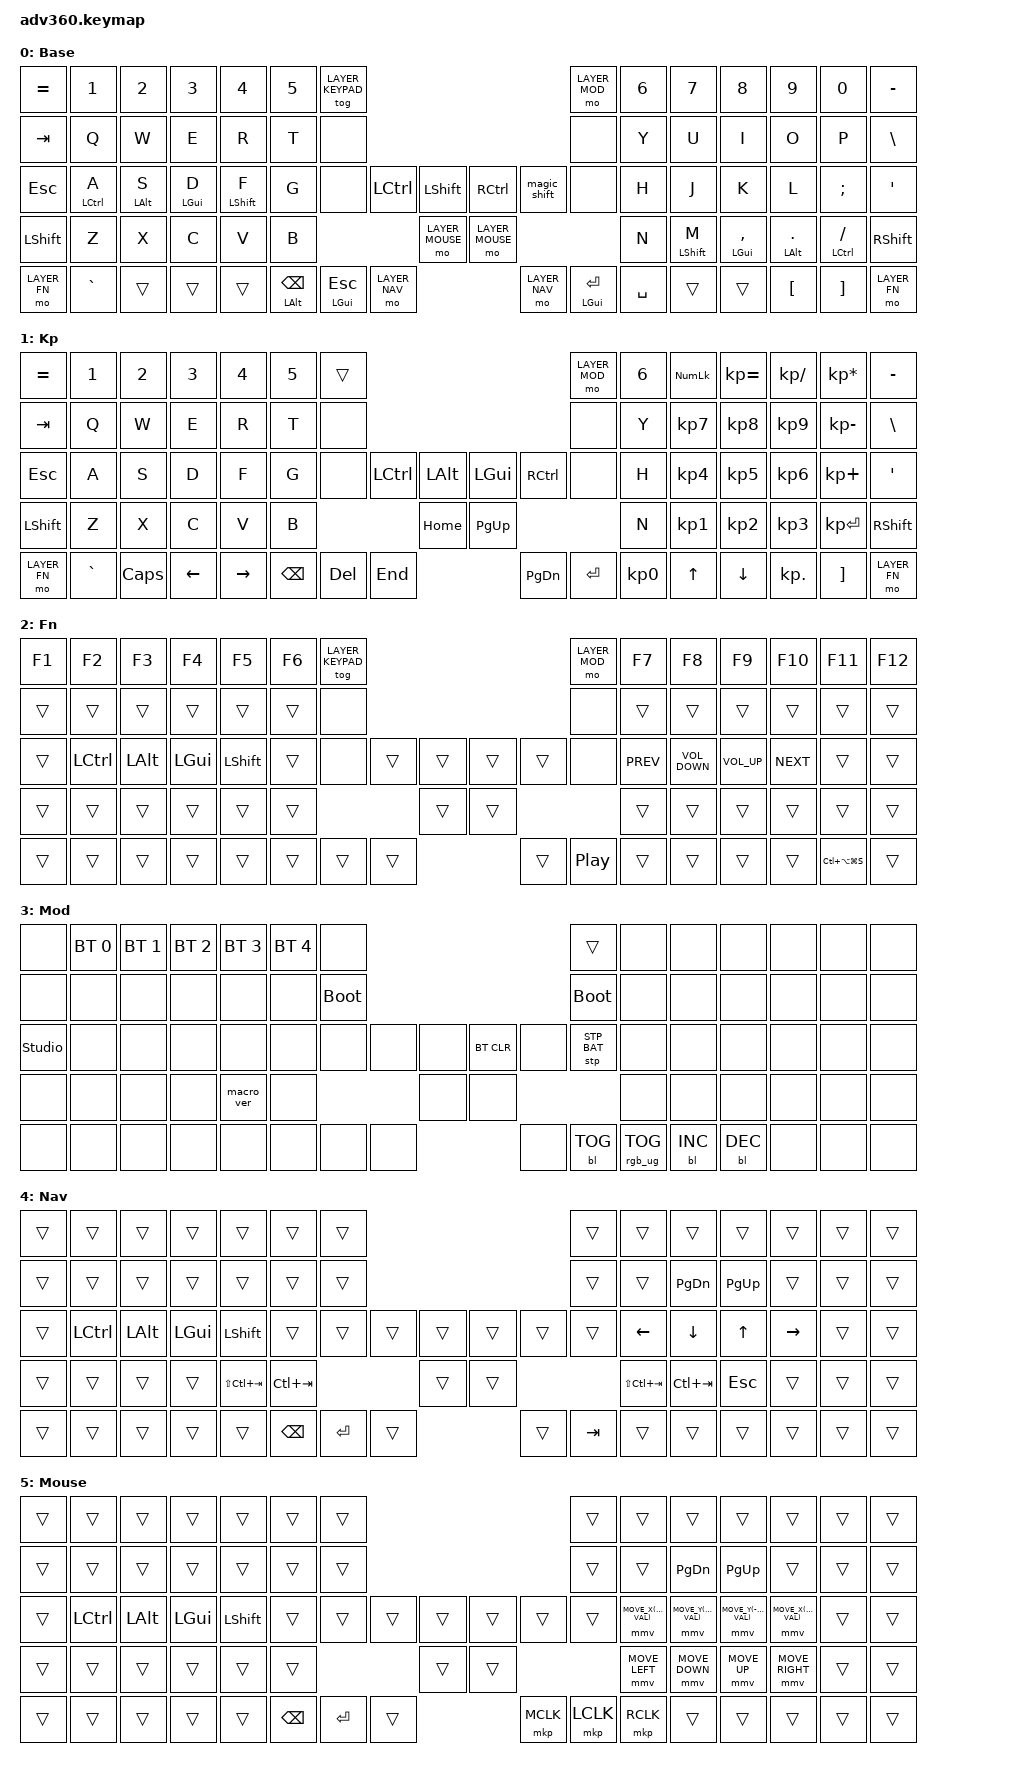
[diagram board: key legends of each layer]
#include <dt-bindings/zmk/stp.h>
#include <behaviors.dtsi>
#include <dt-bindings/zmk/backlight.h>
#include <dt-bindings/zmk/bt.h>
#include <dt-bindings/zmk/keys.h>
#include <dt-bindings/zmk/rgb.h>

// Layers
#define LAYER_DEFAULT 0
#define LAYER_KEYPAD 1
#define LAYER_FN 2
#define LAYER_MOD 3
#define LAYER_NAV 4
#define LAYER_MOUSE 5

// See assets/key-positions.md for a visual representation of the key positions
// 
// ..................ADVANTAGE 360 KEY MATRIX
// ╭────────────────────────────┬────────────────────────────╮
// │  0   1   2   3   4   5   6 │  7   8   9  10  11  12  13 │
// │ 14  15  16  17  18  19  20 │ 21  22  23  24  25  26  27 │
// │ 28  29  30  31  32  33  34 │ 39  40  41  42  43  44  45 │
// │ 46  47  48  49  50  51 ╭───┴───╮ 54  55  56  57  58  59 │
// │ 60  61  62  63  64╭────╯       ╰────╮71  72  73  74  75 │
// ╰───────────────────┼────────┬────────┼───────────────────╯
// ................╭───╯ 35  36 │ 37  38 ╰───╮
// ................|         52 │ 53         |
// ................│ 65  66  67 │ 68  69  70 │
// ................╰─────────────────────────╯
// Left hand alpha keys to be triggered by homerow right mods
#define HOMEROW_KEYS_L 15 16 17 18 19 \
29 30 31 32 33 \
47 48 49 50 51

// Right hand alpha keys to be triggered by homerow right mods
#define HOMEROW_KEYS_R 21 22 23 24 25 26 \
39 40 41 42 43 44 \
54 55 56 57 58
#define HOMEROW_THUMBS 52 53 \
65 66       69 70

// Timeless Hold-tap and home row mod timing parameters
// See https://zmk.dev/docs/keymaps/behaviors/hold-tap#custom-hold-tap-configuration
#define REQUIRE_PRIOR_IDLE_MS 150
#define TAPPING_TERM_MS 200
#define QUICK_TAP_MS 150

// Must exceed the gap between two taps at a normal burst cadence
#define REPEAT_QUICK_TAP_MS 300

// Set behavior for home row mods (CAGS, GACS, etc.)
// See https://precondition.github.io/home-row-mods#home-row-mods-order for options
#define PINKY_FINGER_MOD LCTRL
#define RINGY_FINGER_MOD LALT
#define MIDDY_FINGER_MOD LGUI
#define INDEX_FINGER_MOD LSHIFT

// Readable aliases
#define MAC_SLEEP LC(LA(LG(S)))
#define NEXT_TAB LS(LC(TAB))
#define PREV_TAB LC(TAB)

// See https://zmk.dev/docs/keymaps/behaviors/mouse-emulation#mouse-emulation-defines
#define MOVE_VAL 1200

/ {
	behaviors {
		#include "macros.dtsi"
		#include "version.dtsi"

		tht: thumb_hold_tap {
			compatible = "zmk,behavior-hold-tap";
			#binding-cells = <2>;
			flavor = "tap-preferred";
			tapping-term-ms = <TAPPING_TERM_MS>;
			quick-tap-ms = <QUICK_TAP_MS>;
			bindings = <&kp>, <&kp>;
		};

		// `tht` with a wider quick-tap window, for keys tapped in bursts.
		// Re-pressing within the window emits the tap on key down instead of
		// key up; the cost is that the hold is unavailable for that long.
		thtr: thumb_hold_tap_repeat {
			compatible = "zmk,behavior-hold-tap";
			#binding-cells = <2>;
			flavor = "tap-preferred";
			tapping-term-ms = <TAPPING_TERM_MS>;
			quick-tap-ms = <REPEAT_QUICK_TAP_MS>;
			bindings = <&kp>, <&kp>;
		};

		// Adapted from:
		// - https://zmk.dev/docs/keymaps/behaviors/hold-tap?examples=home_row_mods#custom-hold-tap-examples
		// - https://github.com/urob/zmk-config?tab=readme-ov-file#timeless-homerow-mods
		hml: home_row_mod_left {
			compatible = "zmk,behavior-hold-tap";
			#binding-cells = <2>;
			flavor = "tap-preferred";
			require-prior-idle-ms = <REQUIRE_PRIOR_IDLE_MS>;
			tapping-term-ms = <TAPPING_TERM_MS>;
			bindings = <&kp>, <&kp>;
			hold-trigger-key-positions = <HOMEROW_KEYS_R HOMEROW_THUMBS>;
			hold-trigger-on-release;
		};
		hmr: home_row_mod_right {
			compatible = "zmk,behavior-hold-tap";
			#binding-cells = <2>;
			flavor = "tap-preferred";
			require-prior-idle-ms = <REQUIRE_PRIOR_IDLE_MS>;
			tapping-term-ms = <TAPPING_TERM_MS>;
			bindings = <&kp>, <&kp>;
			hold-trigger-key-positions = <HOMEROW_KEYS_L HOMEROW_THUMBS>;
			hold-trigger-on-release;
		};
		magic_shift: magic_shift {
			compatible = "zmk,behavior-tap-dance";
			#binding-cells = <0>;
			tapping-term-ms = <TAPPING_TERM_MS>;
			bindings = <&kp LSHFT>, <&caps_word>;
		};
	};
	keymap {
		compatible = "zmk,keymap";

		default_layer {
			display-name = "Base";
			bindings = <
				&kp EQUAL      &kp N1                    &kp N2                    &kp N3                    &kp N4                    &kp N5   &tog LAYER_KEYPAD                                                                                                       &mo LAYER_MOD   &kp N6   &kp N7                    &kp N8                        &kp N9                      &kp N0                       &kp MINUS
				&kp TAB        &kp Q                     &kp W                     &kp E                     &kp R                     &kp T    &none                                                                                                                   &none           &kp Y    &kp U                     &kp I                         &kp O                       &kp P                        &kp BSLH
				&kp ESC        &hml PINKY_FINGER_MOD A   &hml RINGY_FINGER_MOD S   &hml MIDDY_FINGER_MOD D   &hml INDEX_FINGER_MOD F   &kp G    &none                                 &kp LCTRL       &kp LSHIFT        &kp RCTRL         &magic_shift                  &none           &kp H    &kp J                     &kp K                         &kp L                       &kp SEMI                     &kp SQT
				&kp LSHFT      &kp Z                     &kp X                     &kp C                     &kp V                     &kp B                                                          &mo LAYER_MOUSE   &mo LAYER_MOUSE                                                 &kp N    &hmr INDEX_FINGER_MOD M   &hmr MIDDY_FINGER_MOD COMMA   &hmr RINGY_FINGER_MOD DOT   &hmr PINKY_FINGER_MOD FSLH   &kp RSHFT
				&mo LAYER_FN   &kp GRAVE                 &trans                    &trans                    &trans                                                 &thtr LALT BSPC   &tht LGUI ESC   &mo LAYER_NAV     &mo LAYER_NAV     &tht LGUI ENTER   &kp SPACE                            &trans                    &trans                        &kp LBKT                    &kp RBKT                     &mo LAYER_FN
			>;
		};
		keypad_layer {
			display-name = "Kp";
			bindings = <
				&kp EQUAL      &kp N1      &kp N2     &kp N3     &kp N4      &kp N5   &trans                                                                         &mo LAYER_MOD   &kp N6   &kp KP_NUM   &kp KP_EQUAL   &kp KP_DIVIDE   &kp KP_MULTIPLY   &kp MINUS
				&kp TAB        &kp Q       &kp W      &kp E      &kp R       &kp T    &none                                                                          &none           &kp Y    &kp KP_N7    &kp KP_N8      &kp KP_N9       &kp KP_MINUS      &kp BSLH
				&kp ESC        &kp A       &kp S      &kp D      &kp F       &kp G    &none               &kp LCTRL   &kp LALT   &kp LGUI    &kp RCTRL               &none           &kp H    &kp KP_N4    &kp KP_N5      &kp KP_N6       &kp KP_PLUS       &kp SQT
				&kp LSHFT      &kp Z       &kp X      &kp C      &kp V       &kp B                                    &kp HOME   &kp PG_UP                                           &kp N    &kp KP_N1    &kp KP_N2      &kp KP_N3       &kp KP_ENTER      &kp RSHFT
				&mo LAYER_FN   &kp GRAVE   &kp CAPS   &kp LEFT   &kp RIGHT                     &kp BSPC   &kp DEL     &kp END    &kp PG_DN   &kp ENTER   &kp KP_N0                            &kp UP       &kp DOWN       &kp KP_DOT      &kp RBKT          &mo LAYER_FN
			>;
		};
		fn_layer {
			display-name = "Fn";
			bindings = <
				&kp F1   &kp F2                 &kp F3                 &kp F4                 &kp F5                 &kp F6   &tog LAYER_KEYPAD                                                                   &mo LAYER_MOD   &kp F7       &kp F8              &kp F9            &kp F10      &kp F11         &kp F12
				&trans   &trans                 &trans                 &trans                 &trans                 &trans   &none                                                                               &none           &trans       &trans              &trans            &trans       &trans          &trans
				&trans   &kp PINKY_FINGER_MOD   &kp RINGY_FINGER_MOD   &kp MIDDY_FINGER_MOD   &kp INDEX_FINGER_MOD   &trans   &none                        &trans   &trans   &trans   &trans                      &none           &kp C_PREV   &kp C_VOLUME_DOWN   &kp C_VOLUME_UP   &kp C_NEXT   &trans          &trans
				&trans   &trans                 &trans                 &trans                 &trans                 &trans                                         &trans   &trans                                               &trans       &trans              &trans            &trans       &trans          &trans
				&trans   &trans                 &trans                 &trans                 &trans                                              &trans   &trans   &trans   &trans   &kp C_PLAY_PAUSE   &trans                                &trans              &trans            &trans       &kp MAC_SLEEP   &trans
			>;
		};
		mod_layer {
			display-name = "Mod";
			bindings = <
				&none            &bt BT_SEL 0   &bt BT_SEL 1   &bt BT_SEL 2   &bt BT_SEL 3   &bt BT_SEL 4   &none                                                                             &trans         &none   &none        &none        &none   &none   &none
				&none            &none          &none          &none          &none          &none          &bootloader                                                                       &bootloader    &none   &none        &none        &none   &none   &none
				&studio_unlock   &none          &none          &none          &none          &none          &none                 &none   &none   &bt BT_CLR   &none                          &stp STP_BAT   &none   &none        &none        &none   &none   &none
				&none            &none          &none          &none          &macro_ver     &none                                        &none   &none                                                      &none   &none        &none        &none   &none   &none
				&none            &none          &none          &none          &none                                       &none   &none   &none   &none        &bl BL_TOG   &rgb_ug RGB_TOG                          &bl BL_INC   &bl BL_DEC   &none   &none   &none
			>;
		};
		nav_layer {
			display-name = "Nav";
			bindings = <
				&trans   &trans                 &trans                 &trans                 &trans                 &trans         &trans                                                               &trans   &trans         &trans         &trans      &trans      &trans   &trans
				&trans   &trans                 &trans                 &trans                 &trans                 &trans         &trans                                                               &trans   &trans         &kp PG_DN      &kp PG_UP   &trans      &trans   &trans
				&trans   &kp PINKY_FINGER_MOD   &kp RINGY_FINGER_MOD   &kp MIDDY_FINGER_MOD   &kp INDEX_FINGER_MOD   &trans         &trans              &trans      &trans   &trans   &trans             &trans   &kp LEFT       &kp DOWN       &kp UP      &kp RIGHT   &trans   &trans
				&trans   &trans                 &trans                 &trans                 &kp NEXT_TAB           &kp PREV_TAB                                   &trans   &trans                               &kp NEXT_TAB   &kp PREV_TAB   &kp ESC     &trans      &trans   &trans
				&trans   &trans                 &trans                 &trans                 &trans                                         &kp BSPC   &kp ENTER   &trans   &trans   &kp TAB   &trans                           &trans         &trans      &trans      &trans   &trans
			>;
		};
		mouse_layer {
			display-name = "Mouse";
			bindings = <
				&trans   &trans                 &trans                 &trans                 &trans                 &trans   &trans                                                                       &trans   &trans                   &trans                  &trans                   &trans                  &trans   &trans
				&trans   &trans                 &trans                 &trans                 &trans                 &trans   &trans                                                                       &trans   &trans                   &kp PG_DN               &kp PG_UP                &trans                  &trans   &trans
				&trans   &kp PINKY_FINGER_MOD   &kp RINGY_FINGER_MOD   &kp MIDDY_FINGER_MOD   &kp INDEX_FINGER_MOD   &trans   &trans              &trans      &trans   &trans      &trans                  &trans   &mmv MOVE_X(-MOVE_VAL)   &mmv MOVE_Y(MOVE_VAL)   &mmv MOVE_Y(-MOVE_VAL)   &mmv MOVE_X(MOVE_VAL)   &trans   &trans
				&trans   &trans                 &trans                 &trans                 &trans                 &trans                                   &trans   &trans                                       &mmv MOVE_LEFT           &mmv MOVE_DOWN          &mmv MOVE_UP             &mmv MOVE_RIGHT         &trans   &trans
				&trans   &trans                 &trans                 &trans                 &trans                                   &kp BSPC   &kp ENTER   &trans   &mkp MCLK   &mkp LCLK   &mkp RCLK                                     &trans                  &trans                   &trans                  &trans   &trans
			>;
		};
	};
};
